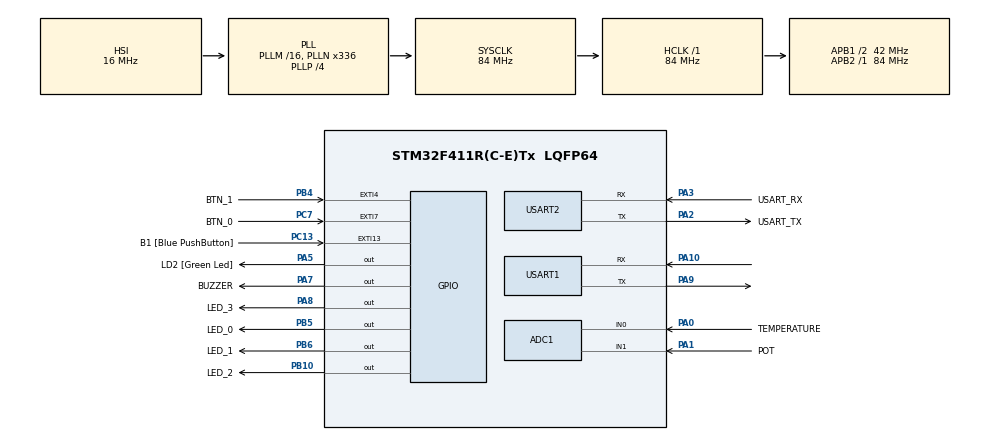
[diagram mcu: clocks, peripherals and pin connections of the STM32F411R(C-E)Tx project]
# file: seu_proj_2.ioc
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Mcu.Family=STM32F4
RCC.CortexFreq_Value=84000000
PB4.GPIO_ModeDefaultEXTI=GPIO_MODE_IT_FALLING
PA14.GPIO_Label=TCK
PB6.GPIO_Label=LED_1
RCC.SYSCLKSource=RCC_SYSCLKSOURCE_PLLCLK
ProjectManager.StackSize=0x400
VP_FREERTOS_VS_CMSIS_V2.Mode=CMSIS_V2
PH0\ -\ OSC_IN.Signal=RCC_OSC_IN
RCC.HCLKFreq_Value=84000000
RCC.APB2TimFreq_Value=84000000
PB6.Signal=GPIO_Output
PC7.Signal=GPXTI7
RCC.AHBFreq_Value=84000000
Dma.USART1_RX.0.Priority=DMA_PRIORITY_LOW
RCC.HSE_VALUE=8000000
PC13-ANTI_TAMP.Signal=GPXTI13
PC14-OSC32_IN.Mode=LSE-External-Oscillator
PA14.Mode=Serial_Wire
VP_SYS_VS_tim1.Mode=TIM1
PA8.Signal=GPIO_Output
SH.ADCx_IN0.0=ADC1_IN0,IN0
Dma.USART1_RX.0.MemInc=DMA_MINC_ENABLE
FREERTOS.configTOTAL_HEAP_SIZE=40000
RCC.FLatency-AdvancedSettings=FLASH_LATENCY_2
PC7.GPIO_ModeDefaultEXTI=GPIO_MODE_IT_FALLING
Mcu.Package=LQFP64
NVIC.TimeBase=TIM1_UP_TIM10_IRQn
USART2.VirtualMode=VM_ASYNC
PA2.GPIO_Label=USART_TX
NVIC.TimeBaseIP=TIM1
PA10.Signal=USART1_RX
Dma.USART1_RX.0.FIFOMode=DMA_FIFOMODE_DISABLE
SH.ADCx_IN1.0=ADC1_IN1,IN1
PB5.GPIO_Label=LED_0
NVIC.DMA2_Stream2_IRQn=true\:5\:0\:false\:false\:true\:true\:false\:true
RCC.APB1TimFreq_Value=84000000
Dma.USART1_RX.0.Mode=DMA_NORMAL
Dma.Request0=USART1_RX
Dma.USART1_RX.0.Instance=DMA2_Stream2
PB4.Signal=GPXTI4
PA3.Signal=USART2_RX
PB3.GPIO_Label=SWO
PC15-OSC32_OUT.Mode=LSE-External-Oscillator
NVIC.EXTI4_IRQn=true\:5\:0\:false\:false\:true\:true\:true\:true
FREERTOS.Tasks01=displayTask,24,2048,startDisplayTask,Default,NULL,Dynamic,NULL,NULL;temperatureTask,24,2048,startTemperatureTask,Default,NULL,Dynamic,NULL,NULL;networkComTask,24,2048,startNetworkComTask,Default,NULL,Dynamic,NULL,NULL
Dma.USART1_RX.0.PeriphDataAlignment=DMA_PDATAALIGN_BYTE
PA10.Mode=Asynchronous
PC13-ANTI_TAMP.GPIO_Label=B1 [Blue PushButton]
PH1\ -\ OSC_OUT.Mode=HSE-External-Clock-Source
RCC.APB1CLKDivider=RCC_HCLK_DIV2
PC14-OSC32_IN.Signal=RCC_OSC32_IN
PA0-WKUP.GPIO_Label=TEMPERATURE
PA0-WKUP.Signal=ADCx_IN0
PA13.Signal=SYS_JTMS-SWDIO
PA3.Mode=Asynchronous
PA9.Mode=Asynchronous
PH0\ -\ OSC_IN.Mode=HSE-External-Clock-Source
PA8.GPIO_Label=LED_3
ProjectManager.TargetToolchain=STM32CubeIDE
PB10.GPIO_Label=LED_2
Dma.USART1_RX.0.Direction=DMA_PERIPH_TO_MEMORY
PA9.Signal=USART1_TX
ADC1.Channel-1\#ChannelRegularConversion=ADC_CHANNEL_0
PB4.GPIO_PuPd=GPIO_PULLUP
PC7.GPIO_PuPd=GPIO_PULLUP
PC15-OSC32_OUT.Signal=RCC_OSC32_OUT
PA1.Signal=ADCx_IN1
Dma.USART1_RX.0.PeriphInc=DMA_PINC_DISABLE
PB10.Signal=GPIO_Output
PA5.Signal=GPIO_Output
PH1\ -\ OSC_OUT.Signal=RCC_OSC_OUT
board=NUCLEO-F411RE
RCC.VCOOutputFreq_Value=336000000
RCC.APB2Freq_Value=84000000
PB4.GPIO_Label=BTN_1
PA1.GPIO_Label=POT
Dma.USART1_RX.0.MemDataAlignment=DMA_MDATAALIGN_BYTE
PA13.Mode=Serial_Wire
Mcu.Name=STM32F411R(C-E)Tx
PA2.Signal=USART2_TX
PA13.GPIO_Label=TMS
PC7.GPIO_Label=BTN_0
RCC.48MHZClocksFreq_Value=84000000
PB3.Signal=SYS_JTDO-SWO
ADC1.SamplingTime-1\#ChannelRegularConversion=ADC_SAMPLETIME_3CYCLES
RCC.SYSCLKFreq_VALUE=84000000
PB5.Signal=GPIO_Output
PA7.GPIO_Label=BUZZER
ADC1.master=1
PA5.GPIO_Label=LD2 [Green Led]
USART1.VirtualMode=VM_ASYNC
PC13-ANTI_TAMP.GPIO_ModeDefaultEXTI=GPIO_MODE_IT_FALLING
ADC1.Rank-1\#ChannelRegularConversion=1
NVIC.EXTI9_5_IRQn=true\:5\:0\:false\:false\:true\:true\:true\:true
PA14.Signal=SYS_JTCK-SWCLK
ProjectManager.HeapSize=0x200
NVIC.TIM1_UP_TIM10_IRQn=true\:0\:0\:false\:false\:true\:false\:false\:true
RCC.HSI_VALUE=16000000
FREERTOS.Mutexes01=timerMutex,Dynamic,NULL;temperatureMutex,Dynamic,NULL;modeMutex,Dynamic,NULL
RCC.PLLP=RCC_PLLP_DIV4
NVIC.PriorityGroup=NVIC_PRIORITYGROUP_4
ADC1.NbrOfConversionFlag=1
RCC.PLLN=336
PA2.Mode=Asynchronous
RCC.APB1Freq_Value=42000000
PA3.GPIO_Label=USART_RX
PA7.Signal=GPIO_Output

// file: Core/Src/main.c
/* USER CODE BEGIN Header */
/**
  ******************************************************************************
  * @file           : main.c
  * @brief          : Main program body
  ******************************************************************************
  * @attention
  *
  * <h2><center>&copy; Copyright (c) 2021 STMicroelectronics.
  * All rights reserved.</center></h2>
  *
  * This software component is licensed by ST under BSD 3-Clause license,
  * the "License"; You may not use this file except in compliance with the
  * License. You may obtain a copy of the License at:
  *                        opensource.org/licenses/BSD-3-Clause
  *
  ******************************************************************************
  */
/* USER CODE END Header */
#include "main.h"
#include "cmsis_os.h"

/* USER CODE BEGIN Includes */
#include "utility.h"

/* USER CODE END Includes */

/* USER CODE BEGIN PD */
#define R25    		  10000.0
#define T25           298.15
#define BETA          3900
#define PRINT		  &huart2
#define UART_ESP8266  &huart1

// Orion Context IoT name
#define IoT_NAME   	 "SensorSEU21_LYK" //LYK=LarsyKnut

// Orion Context Broker
#define ORION_PORT   	 "10000"      // Old port "1026"
#define ORION_ADDRESS   "pperez2.disca.upv.es" // Old: "pperez-seu-or.disca.upv.es"

// Orion Operations
#define ORION_UPDATE	"POST /v1/updateContext HTTP/1.1\r\nContent-Type: application/json\r\nAccept: application/json\r\nContent-Length:"
#define ORION_UPDATE_BODY_TEMP   "{ \"contextElements\": [{\"type\": \"Sensor\", \"isPattern\": \"false\",\"id\": \"%s\",\"attributes\": [ {\"name\": \"temp\",\"type\": \"float\",\"value\": \"%f\"}]}],\"updateAction\": \"APPEND\"}"

#define ORION_QUERY	"POST /v1/queryContext HTTP/1.1\r\nContent-Type: application/json\r\nAccept: application/json\r\nContent-Length:"
#define ORION_QUERY_BODY_TEMP   "{ \"entities\": [{\"type\": \"Sensor\",\"isPattern\": \"false\",\"id\": \"%s\"}]}"

/* ESP RESPONSE WHEN NO WIFI TRYING TO ACCESS CONTEXTBROKER:

OrionConteOrionContextBroker_update
POST /v1/queryContext HTTP/1.1

ERROR
Content-Type: application/json

Accept: application/json

busy p…
Content-Le
ERROR
ngth: 80

ERROR

ERROR
{ “entities”: [{“type”: “Sensor”,”isPattern”: “false”,”id”: “SensorSEU21_LYK”}]}Done
 *
 */

/* USER CODE END PD */

ADC_HandleTypeDef hadc1;

UART_HandleTypeDef huart1;
UART_HandleTypeDef huart2;
DMA_HandleTypeDef hdma_usart1_rx;

/* Definitions for displayTask */
osThreadId_t displayTaskHandle;
const osThreadAttr_t displayTask_attributes = {
  .name = "displayTask",
  .stack_size = 2048 * 4,
  .priority = (osPriority_t) osPriorityNormal,
};
/* Definitions for temperatureTask */
osThreadId_t temperatureTaskHandle;
const osThreadAttr_t temperatureTask_attributes = {
  .name = "temperatureTask",
  .stack_size = 2048 * 4,
  .priority = (osPriority_t) osPriorityNormal,
};
/* Definitions for networkComTask */
osThreadId_t networkComTaskHandle;
const osThreadAttr_t networkComTask_attributes = {
  .name = "networkComTask",
  .stack_size = 2048 * 4,
  .priority = (osPriority_t) osPriorityNormal,
};
/* Definitions for timerMutex */
osMutexId_t timerMutexHandle;
const osMutexAttr_t timerMutex_attributes = {
  .name = "timerMutex"
};
/* Definitions for temperatureMutex */
osMutexId_t temperatureMutexHandle;
const osMutexAttr_t temperatureMutex_attributes = {
  .name = "temperatureMutex"
};
/* Definitions for modeMutex */
osMutexId_t modeMutexHandle;
const osMutexAttr_t modeMutex_attributes = {
  .name = "modeMutex"
};
/* USER CODE BEGIN PV */
mode 			MODE =  					ONLINE;
network_status	NETWORK_STATUS = 			OK;
int 			ALARM = 					0;
float 			global_temperature_buffer = 0.0;
int     		light_list[4]=				{0,0,0,0};
char    		global_time_buffer[6];
char			buff_sprintf100[100];
char 			buff_sprintf_body[256];
char   		    buff_sprintf1024[1024];
uint8_t 		buff_sprintf100_1[100];
uint8_t 		buff_recv[2048];
uint8_t 		buff_response1[2048];

/* USER CODE END PV */

void SystemClock_Config(void);
static void MX_GPIO_Init(void);
static void MX_DMA_Init(void);
static void MX_USART2_UART_Init(void);
static void MX_USART1_UART_Init(void);
static void MX_ADC1_Init(void);
void startDisplayTask(void *argument);
void startTemperatureTask(void *argument);
void startNetworkComTask(void *argument);

int main(void)
{

  /* MCU Configuration--------------------------------------------------------*/

  /* Reset of all peripherals, Initializes the Flash interface and the Systick. */
  HAL_Init();

  /* Configure the system clock */
  SystemClock_Config();

  /* Initialize all configured peripherals */
  MX_GPIO_Init();
  MX_DMA_Init();
  MX_USART2_UART_Init();
  MX_USART1_UART_Init();
  MX_ADC1_Init();

  /* Init scheduler */
  osKernelInitialize();
  /* Create the mutex(es) */
  /* creation of timerMutex */
  timerMutexHandle = osMutexNew(&timerMutex_attributes);

  /* creation of temperatureMutex */
  temperatureMutexHandle = osMutexNew(&temperatureMutex_attributes);

  /* creation of modeMutex */
  modeMutexHandle = osMutexNew(&modeMutex_attributes);

  /* Create the thread(s) */
  /* creation of displayTask */
 // displayTaskHandle = osThreadNew(startDisplayTask, NULL, &displayTask_attributes);

  /* creation of temperatureTask */
  temperatureTaskHandle = osThreadNew(startTemperatureTask, NULL, &temperatureTask_attributes);

  /* creation of networkComTask */
  networkComTaskHandle = osThreadNew(startNetworkComTask, NULL, &networkComTask_attributes);

  /* Start scheduler */
  osKernelStart();

  /* We should never get here as control is now taken by the scheduler */
  /* Infinite loop */
  while (1)
  {

  }
}

void SystemClock_Config(void)
{
  RCC_OscInitTypeDef RCC_OscInitStruct = {0};
  RCC_ClkInitTypeDef RCC_ClkInitStruct = {0};

  /** Configure the main internal regulator output voltage
  */
  __HAL_RCC_PWR_CLK_ENABLE();
  __HAL_PWR_VOLTAGESCALING_CONFIG(PWR_REGULATOR_VOLTAGE_SCALE1);
  /** Initializes the RCC Oscillators according to the specified parameters
  * in the RCC_OscInitTypeDef structure.
  */
  RCC_OscInitStruct.OscillatorType = RCC_OSCILLATORTYPE_HSI;
  RCC_OscInitStruct.HSIState = RCC_HSI_ON;
  RCC_OscInitStruct.HSICalibrationValue = RCC_HSICALIBRATION_DEFAULT;
  RCC_OscInitStruct.PLL.PLLState = RCC_PLL_ON;
  RCC_OscInitStruct.PLL.PLLSource = RCC_PLLSOURCE_HSI;
  RCC_OscInitStruct.PLL.PLLM = 16;
  RCC_OscInitStruct.PLL.PLLN = 336;
  RCC_OscInitStruct.PLL.PLLP = RCC_PLLP_DIV4;
  RCC_OscInitStruct.PLL.PLLQ = 4;
  if (HAL_RCC_OscConfig(&RCC_OscInitStruct) != HAL_OK)
  {
    Error_Handler();
  }
  /** Initializes the CPU, AHB and APB buses clocks
  */
  RCC_ClkInitStruct.ClockType = RCC_CLOCKTYPE_HCLK|RCC_CLOCKTYPE_SYSCLK
                              |RCC_CLOCKTYPE_PCLK1|RCC_CLOCKTYPE_PCLK2;
  RCC_ClkInitStruct.SYSCLKSource = RCC_SYSCLKSOURCE_PLLCLK;
  RCC_ClkInitStruct.AHBCLKDivider = RCC_SYSCLK_DIV1;
  RCC_ClkInitStruct.APB1CLKDivider = RCC_HCLK_DIV2;
  RCC_ClkInitStruct.APB2CLKDivider = RCC_HCLK_DIV1;

  if (HAL_RCC_ClockConfig(&RCC_ClkInitStruct, FLASH_LATENCY_2) != HAL_OK)
  {
    Error_Handler();
  }
}

static void MX_ADC1_Init(void)
{

  ADC_ChannelConfTypeDef sConfig = {0};

  /** Configure the global features of the ADC (Clock, Resolution, Data Alignment and number of conversion)
  */
  hadc1.Instance = ADC1;
  hadc1.Init.ClockPrescaler = ADC_CLOCK_SYNC_PCLK_DIV4;
  hadc1.Init.Resolution = ADC_RESOLUTION_12B;
  hadc1.Init.ScanConvMode = DISABLE;
  hadc1.Init.ContinuousConvMode = DISABLE;
  hadc1.Init.DiscontinuousConvMode = DISABLE;
  hadc1.Init.ExternalTrigConvEdge = ADC_EXTERNALTRIGCONVEDGE_NONE;
  hadc1.Init.ExternalTrigConv = ADC_SOFTWARE_START;
  hadc1.Init.DataAlign = ADC_DATAALIGN_RIGHT;
  hadc1.Init.NbrOfConversion = 1;
  hadc1.Init.DMAContinuousRequests = DISABLE;
  hadc1.Init.EOCSelection = ADC_EOC_SINGLE_CONV;
  if (HAL_ADC_Init(&hadc1) != HAL_OK)
  {
    Error_Handler();
  }
  /** Configure for the selected ADC regular channel its corresponding rank in the sequencer and its sample time.
  */
  sConfig.Channel = ADC_CHANNEL_0;
  sConfig.Rank = 1;
  sConfig.SamplingTime = ADC_SAMPLETIME_3CYCLES;
  if (HAL_ADC_ConfigChannel(&hadc1, &sConfig) != HAL_OK)
  {
    Error_Handler();
  }

}

static void MX_USART1_UART_Init(void)
{

  huart1.Instance = USART1;
  huart1.Init.BaudRate = 115200;
  huart1.Init.WordLength = UART_WORDLENGTH_8B;
  huart1.Init.StopBits = UART_STOPBITS_1;
  huart1.Init.Parity = UART_PARITY_NONE;
  huart1.Init.Mode = UART_MODE_TX_RX;
  huart1.Init.HwFlowCtl = UART_HWCONTROL_NONE;
  huart1.Init.OverSampling = UART_OVERSAMPLING_16;
  if (HAL_UART_Init(&huart1) != HAL_OK)
  {
    Error_Handler();
  }

}

static void MX_USART2_UART_Init(void)
{

  huart2.Instance = USART2;
  huart2.Init.BaudRate = 115200;
  huart2.Init.WordLength = UART_WORDLENGTH_8B;
  huart2.Init.StopBits = UART_STOPBITS_1;
  huart2.Init.Parity = UART_PARITY_NONE;
  huart2.Init.Mode = UART_MODE_TX_RX;
  huart2.Init.HwFlowCtl = UART_HWCONTROL_NONE;
  huart2.Init.OverSampling = UART_OVERSAMPLING_16;
  if (HAL_UART_Init(&huart2) != HAL_OK)
  {
    Error_Handler();
  }

}

static void MX_DMA_Init(void)
{

  /* DMA controller clock enable */
  __HAL_RCC_DMA2_CLK_ENABLE();

  /* DMA interrupt init */
  /* DMA2_Stream2_IRQn interrupt configuration */
  HAL_NVIC_SetPriority(DMA2_Stream2_IRQn, 5, 0);
  HAL_NVIC_EnableIRQ(DMA2_Stream2_IRQn);

}

static void MX_GPIO_Init(void)
{
  GPIO_InitTypeDef GPIO_InitStruct = {0};

  /* GPIO Ports Clock Enable */
  __HAL_RCC_GPIOC_CLK_ENABLE();
  __HAL_RCC_GPIOH_CLK_ENABLE();
  __HAL_RCC_GPIOA_CLK_ENABLE();
  __HAL_RCC_GPIOB_CLK_ENABLE();

  /*Configure GPIO pin Output Level */
  HAL_GPIO_WritePin(GPIOA, LD2_Pin|BUZZER_Pin|LED_3_Pin, GPIO_PIN_RESET);

  /*Configure GPIO pin Output Level */
  HAL_GPIO_WritePin(GPIOB, LED_2_Pin|LED_0_Pin|LED_1_Pin, GPIO_PIN_RESET);

  /*Configure GPIO pin : B1_Pin */
  GPIO_InitStruct.Pin = B1_Pin;
  GPIO_InitStruct.Mode = GPIO_MODE_IT_FALLING;
  GPIO_InitStruct.Pull = GPIO_NOPULL;
  HAL_GPIO_Init(B1_GPIO_Port, &GPIO_InitStruct);

  /*Configure GPIO pins : LD2_Pin BUZZER_Pin LED_3_Pin */
  GPIO_InitStruct.Pin = LD2_Pin|BUZZER_Pin|LED_3_Pin;
  GPIO_InitStruct.Mode = GPIO_MODE_OUTPUT_PP;
  GPIO_InitStruct.Pull = GPIO_NOPULL;
  GPIO_InitStruct.Speed = GPIO_SPEED_FREQ_LOW;
  HAL_GPIO_Init(GPIOA, &GPIO_InitStruct);

  /*Configure GPIO pins : LED_2_Pin LED_0_Pin LED_1_Pin */
  GPIO_InitStruct.Pin = LED_2_Pin|LED_0_Pin|LED_1_Pin;
  GPIO_InitStruct.Mode = GPIO_MODE_OUTPUT_PP;
  GPIO_InitStruct.Pull = GPIO_NOPULL;
  GPIO_InitStruct.Speed = GPIO_SPEED_FREQ_LOW;
  HAL_GPIO_Init(GPIOB, &GPIO_InitStruct);

  /*Configure GPIO pin : BTN_0_Pin */
  GPIO_InitStruct.Pin = BTN_0_Pin;
  GPIO_InitStruct.Mode = GPIO_MODE_IT_FALLING;
  GPIO_InitStruct.Pull = GPIO_PULLUP;
  HAL_GPIO_Init(BTN_0_GPIO_Port, &GPIO_InitStruct);

  /*Configure GPIO pin : BTN_1_Pin */
  GPIO_InitStruct.Pin = BTN_1_Pin;
  GPIO_InitStruct.Mode = GPIO_MODE_IT_FALLING;
  GPIO_InitStruct.Pull = GPIO_PULLUP;
  HAL_GPIO_Init(BTN_1_GPIO_Port, &GPIO_InitStruct);

  /* EXTI interrupt init*/
  HAL_NVIC_SetPriority(EXTI4_IRQn, 5, 0);
  HAL_NVIC_EnableIRQ(EXTI4_IRQn);

  HAL_NVIC_SetPriority(EXTI9_5_IRQn, 5, 0);
  HAL_NVIC_EnableIRQ(EXTI9_5_IRQn);

}

/* USER CODE BEGIN 4 */

/*
 * Function for setting the lights and activating the Buzzer
 * */
void set_lights_and_buzzer(int buzz){
	HAL_GPIO_WritePin(GPIOB, LED_0_Pin, light_list[0]);
	HAL_GPIO_WritePin(GPIOB, LED_1_Pin, light_list[1]);
	HAL_GPIO_WritePin(GPIOB, LED_2_Pin, light_list[2]);
	HAL_GPIO_WritePin(GPIOA, LED_3_Pin, light_list[3]);

	HAL_GPIO_WritePin(GPIOA, BUZZER_Pin, buzz);

}

/*
 * time_buffer_write() and time_buffer_read() makes sure the reading and writing to the global buffer happens with mutual exclution
 * */
void time_buffer_write(char* time, int size){
	while( osMutexAcquire(timerMutexHandle, 10000/portTICK_RATE_MS) != osOK);	// Aquire mutex
	for(int i=0; i < size;i++){
		global_time_buffer[i] = time[i];
	}
	while(osMutexRelease(timerMutexHandle) != osOK);	//Release mutex
}

/*
 * time_buffer_write() and time_buffer_read() makes sure the reading and writing to the global buffer happens with mutual exclution
 * */
void time_buffer_read(char* time, int size){

	while(osMutexAcquire(timerMutexHandle, 10000/portTICK_RATE_MS) != osOK);	// Aquire mutex
	for(int i = 0; i<size; i++){
		time[i] = global_time_buffer[i];
	}
	while(osMutexRelease(timerMutexHandle) != osOK);
}

/*
 * temperature_buffer_write() and temperature_buffer_read() makes sure the reading and writing to the global buffer happens with mutual exclution
 * */
void temperature_buffer_write(float temperature){
	while( osMutexAcquire(temperatureMutexHandle, 10000/portTICK_RATE_MS) != osOK);	// Aquire mutex
	global_temperature_buffer = temperature;
	while(osMutexRelease(temperatureMutexHandle) != osOK);	//Release mutex
}

/*
 * temperature_buffer_write() and temperature_buffer_read() makes sure the reading and writing to the global buffer happens with mutual exclution
 * */
float temperature_buffer_read(){
	float temperature = 0.0;
	while(osMutexAcquire(temperatureMutexHandle, 10000/portTICK_RATE_MS) != osOK);	// Aquire mutex
	temperature = global_temperature_buffer;
	while(osMutexRelease(temperatureMutexHandle) != osOK);
	return temperature;
}

/*
 *	 This function takes in the response from a HTTP request and cleans away so were left with only the JSON.
 */
void clean_time_response(char * data, int maxlen){

	int t,h,l,o,i = 0;
	char * res;
	int indexbk;
	char bytes[4];

	res = data;

	for(t=0; t < maxlen; t++) buff_response1[t] = '*';

	for(t = 0; t< maxlen;){
		res = strnstr(res, "+IPD", maxlen-t);
		if(res!=NULL){
			bytes[0]=*(res+5);
			bytes[1]=*(res+6);
			bytes[2]=*(res+7);
			bytes[3]=*(res+8);

			for(h=0;h<4;h++) if(bytes[h]==':'){o=h;bytes[h]=0;}
			l=atoi(bytes);

			for(h=0;h<l;h++)buff_response1[t+h]=*(res+h+o+6);
			indexbk = t+h;
			t=t+l;
			res = res+t+o+6; // To avoid +IPD
		}else{
			buff_response1[indexbk] = 0;
			break;
		}
	}
	i=0;
	do{
	}while(buff_response1[i++]!='{');
	i--;

	for(t = 0; t < (2048-i); t++){
		buff_response1[t] = buff_response1[t+1];
	}

}

void clean_cb_response(char * data, int maxlen){

	int t,h,l,o,i = 0;
	char * res;
	int indexbk;
	char bytes[4];

	res = data;

	for(t=0; t < maxlen; t++) buff_response1[t] = '*';

}

/*
 * This functions send a HTTP request to worldclockapi.com to get the current time
 * */
void ESP8266_get_time(void) {
	int ct;
	sprintf(buff_sprintf100,"AT+CIPSTART=\"TCP\",\"%s\",%s\r\n","worldclockapi.com","80");
	HAL_UART_Transmit(UART_ESP8266,( unsigned char *) buff_sprintf100, strlen( buff_sprintf100),100000); // cabecera
	osDelay(100);
	sprintf(buff_sprintf100,"GET /api/json/cet/now HTTP/1.1\r\nAccept: text/html\r\nHost: worldclockapi.com\r\n\r\n");
	sprintf(buff_sprintf100_1,( unsigned char *)"AT+CIPSEND=%d\r\n",strlen(buff_sprintf100));
	HAL_UART_Transmit(UART_ESP8266,( unsigned char *) buff_sprintf100_1, strlen( buff_sprintf100_1),100000); // cabecera
	osDelay(100);

	for (ct=0;ct<2048;ct++) buff_recv[ct]=0;
	HAL_UART_Receive_DMA(UART_ESP8266, buff_recv,2048);
	HAL_UART_Transmit(UART_ESP8266,( unsigned char *) buff_sprintf100, strlen( buff_sprintf100),100000); // cabecera
	osDelay(500);
	HAL_UART_DMAStop(UART_ESP8266);

	clean_time_response(( unsigned char *)buff_recv,2048);
}

/*
 * This function is to set up the ESP8266 to connect to wifi. It is only runned once.
 * */
void ESP8266_Boot(void)
{
	int ct;
	// Reset ESP
	for (ct=0;ct<2048;ct++) buff_recv[ct]=0;
	HAL_UART_Receive_DMA(UART_ESP8266, buff_recv,2048);
	HAL_UART_Transmit(UART_ESP8266, ( unsigned char *)"AT+RST\r\n",strlen("AT+RST\r\n"),10000);
	osDelay(2000);
	HAL_UART_DMAStop(UART_ESP8266);
	HAL_UART_Transmit(&huart2, buff_recv,strlen((char*)buff_recv),10000);

	// Tiene IP?
	for (ct=0;ct<2048;ct++) buff_recv[ct]=0;
	HAL_UART_Receive_DMA(UART_ESP8266, buff_recv,2048);
	HAL_UART_Transmit(UART_ESP8266, ( unsigned char *)"AT+CIFSR\r\n",strlen("AT+CIFSR\r\n"),10000);
	osDelay(2000);
	HAL_UART_DMAStop(UART_ESP8266);
	HAL_UART_Transmit(&huart2, buff_recv,strlen((char*)buff_recv),10000);

	// Pon en modo station=1,  station+access_point=3
	for (ct=0;ct<2048;ct++) buff_recv[ct]=0;
	HAL_UART_Receive_DMA(UART_ESP8266, buff_recv,2048);
	HAL_UART_Transmit(UART_ESP8266, ( unsigned char *) "AT+CWMODE=1\r\n",strlen("AT+CWMODE=1\r\n"),100000);
	osDelay(2000);
	HAL_UART_DMAStop(UART_ESP8266);
	HAL_UART_Transmit(&huart2, buff_recv,strlen((char *)buff_recv),10000);

	// Programa la contraseña del access-point
	for (ct=0;ct<2048;ct++) buff_recv[ct]=0;
	HAL_UART_Receive_DMA(UART_ESP8266, buff_recv,2048);
	//HAL_UART_Transmit(UART_ESP8266,( unsigned char *) "AT+CWJAP=\"routerSEU\",\"00000000\"\r\n",strlen("AT+CWJAP=\"routerSeu\",\"00000000\"\r\n"),10000);
	HAL_UART_Transmit(UART_ESP8266,( unsigned char *) "AT+CWJAP=\"Lowi338D\",\"VVGH3T7SR28SQ9\"\r\n",strlen("AT+CWJAP=\"Lowi338D\",\"VVGH3T7SR28SQ9\"\r\n"),10000);
	//HAL_UART_Transmit(UART_ESP8266,( unsigned char *) "AT+CWJAP=\"Lars iPhone\",\"noerart1234\"\r\n",strlen("AT+CWJAP=\"Lars iPhone\",\"noerart1234\"\r\n"),10000);
	osDelay(10000);
	HAL_UART_DMAStop(UART_ESP8266);
	HAL_UART_Transmit(&huart2, buff_recv,strlen((char *)buff_recv),10000);

	// verifica si hay IP
	for (ct=0;ct<2048;ct++) buff_recv[ct]=0;
	HAL_UART_Receive_DMA(UART_ESP8266, buff_recv,2048);
	HAL_UART_Transmit(UART_ESP8266, ( unsigned char *)"AT+CIFSR\r\n",strlen("AT+CIFSR\r\n"),10000);
	osDelay(4000);
	HAL_UART_DMAStop(UART_ESP8266);
	HAL_UART_Transmit(&huart2, buff_recv,strlen((char *)buff_recv),10000);

}

/*
 * Orion context broker functions
 *
 * */

void OrionContextBroker_update(void) {
    int ct;

     float temp_act = 30;
     temp_act = temperature_buffer_read();
   	 sprintf(buff_sprintf100,"AT+CIPSTART=\"TCP\",\"%s\",%s\r\n",ORION_ADDRESS,ORION_PORT); //Start tcp with context broker
   	 HAL_UART_Transmit(UART_ESP8266,( unsigned char *) buff_sprintf100, strlen( buff_sprintf100),100000); // Send it to the ESP
   	 osDelay(100);

   	 sprintf(buff_sprintf_body,ORION_UPDATE_BODY_TEMP,IoT_NAME,temp_act); // Fill the context body buffer with the context
   	 sprintf(buff_sprintf1024,"%s %d\r\n\r\n%s",ORION_UPDATE,strlen(buff_sprintf_body),buff_sprintf_body); //Fill the full request buffer with request, size and body

   	 sprintf(buff_sprintf100_1,( unsigned char *)"AT+CIPSEND=%d\r\n",strlen(buff_sprintf1024));
   	 HAL_UART_Transmit(UART_ESP8266,( unsigned char *) buff_sprintf100_1, strlen( buff_sprintf100_1),100000); // Prepare ESP with size of request
   	 osDelay(100);

   	 for (ct=0;ct<2048;ct++) buff_recv[ct]=0; //Empty recieve buffer
   	 HAL_UART_Receive_DMA(UART_ESP8266, buff_recv,2048); // Set esp response to save in receive buffer
   	 HAL_UART_Transmit(UART_ESP8266,( unsigned char *) buff_sprintf1024, strlen( buff_sprintf1024),100000); // Transimt the request
   	 osDelay(2000);
   	 HAL_UART_DMAStop(UART_ESP8266);

   	 printf("%s",buff_recv); //Print response

}

void OrionContextBroker_query(void) {

	/*
	 * send queryContext to contextbroker
	 * cleanUp the response (different function)
	 * */

	int ct;

	sprintf(buff_sprintf100,"AT+CIPSTART=\"TCP\",\"%s\",%s\r\n",ORION_ADDRESS,ORION_PORT); //Start tcp with context broker
	HAL_UART_Transmit(UART_ESP8266,( unsigned char *) buff_sprintf100, strlen( buff_sprintf100),100000); // Send it to the ESP
	osDelay(100);

	sprintf(buff_sprintf_body,ORION_QUERY_BODY_TEMP,IoT_NAME); // Fill the context body buffer with the context
	sprintf(buff_sprintf1024,"%s %d\r\n\r\n%s",ORION_QUERY,strlen(buff_sprintf_body),buff_sprintf_body); //Fill the full request buffer with request, size and body

	sprintf(buff_sprintf100_1,( unsigned char *)"AT+CIPSEND=%d\r\n",strlen(buff_sprintf1024));
	HAL_UART_Transmit(UART_ESP8266,( unsigned char *) buff_sprintf100_1, strlen( buff_sprintf100_1),100000); // Prepare ESP with size of request
	osDelay(100);

	for (ct=0;ct<2048;ct++) buff_recv[ct]=0; //Empty recieve buffer
	HAL_UART_Receive_DMA(UART_ESP8266, buff_recv,2048); // Set esp response to save in receive buffer
	HAL_UART_Transmit(UART_ESP8266,( unsigned char *) buff_sprintf1024, strlen( buff_sprintf1024),100000); // Transimt the request
	osDelay(2000);
	HAL_UART_DMAStop(UART_ESP8266);
	//printf("%s",buff_recv); //Print response
	clean_time_response(( unsigned char *)buff_recv,2048);

}

/* USER CODE END 4 */

void startDisplayTask(void *argument)
{
  /* USER CODE BEGIN 5 */
  /* Infinite loop */

  for(;;)
  {
	 osDelay(1000);

	 // Get temperature from global buffer
	 float temperature = 0.0;
	 temperature = temperature_buffer_read();

	 // Get time from global buffer
	 char time[6];
	 time_buffer_read(time,6);

	 printf("Time: %s - Temperature: %.2f\r\n",time,temperature);
  }
  /* USER CODE END 5 */
}

void startTemperatureTask(void *argument)
{
  /* USER CODE BEGIN startTemperatureTask */
  /* Infinite loop */
  for(;;)
  {
	  osDelay(1000);
	  		  uint32_t valueAD;
	  		  float VRNTC,RNTC,TNTC;
	  		  int buzzer = 0;

	  		  ADC_ChannelConfTypeDef sConfig = {0};
	  			// configuracion del canal de entrada A/D
	  		  sConfig.Channel = ADC_CHANNEL_1;
	  		  sConfig.Rank = 1;
	  		  //sConfig.SamplingTime = ADC_SAMPLETIME_2CYCLE_5;
	  		  HAL_ADC_ConfigChannel(&hadc1, &sConfig);
	  		  // Disparo la conversion
	  		  HAL_ADC_Start(&hadc1);
	  		  // Espero la finalización
	  		  HAL_ADC_PollForConversion(&hadc1, 10000);
	  		  // Leo el valor de la conversión 4095 y 0
	  		  valueAD=HAL_ADC_GetValue(&hadc1);
	  		  //printf("valor %d \r\n",valueAD);

	  		  TNTC=BETA/(log((-10000.0*3.3/(valueAD*3.3/4095.9-3.3)-10000.0)/R25)+BETA/T25)-273.18;

	  		  temperature_buffer_write(TNTC);

	  		  if(TNTC>32){
	  			  for(int i = 0; i<4; i++){
	  				  light_list[i] = 1;
	  			  }
	  			  if(TNTC>34){
	  				  buzzer = 1;
	  			  }
	  		  } else if(TNTC > 29){
	  				light_list[0]=0;
	  				light_list[1]=1;
	  				light_list[2]=1;
	  				light_list[3]=1;
	  				buzzer = 0;
	  		  } else if(TNTC > 26){
	  				light_list[0]=0;
	  				light_list[1]=0;
	  				light_list[2]=1;
	  				light_list[3]=1;
	  				buzzer=0;
	  		  }else if(TNTC > 23){
	  				light_list[0]=0;
	  				light_list[1]=0;
	  				light_list[2]=0;
	  				light_list[3]=1;
	  				buzzer = 0;
	  		  }else{
	  			  for(int i = 0; i<4; i++){
	  				  light_list[i]=0;
	  			  }
	  			  buzzer = 0;
	  		  }
	  		  buzzer=0;

	  		  set_lights_and_buzzer(buzzer);

  }
  /* USER CODE END startTemperatureTask */
}

void startNetworkComTask(void *argument)
{
  /* USER CODE BEGIN startNetworkComTask */
	char * temp_time;
	char * temp_string;
	char   temp_source_alarm[strlen("SensorSEU21_XXX")];
	int    temp_light_list[4];
	int    temp_alarm;
	printf("BOOTING ESP8266_Boot\r\n");
	ESP8266_Boot();
	printf("DONE BOOTING\r\n");

  /* Infinite loop */
  for(;;)
  {
	  mode mode = ONLINE; //TODO create mutex getMode method
	  if(mode == LOCAL) {

		 /*
		  * 1. Get time from worldclockapi.com
		  * 2. Write to global buffer
		  * 3. Goto sleep for x seconds
		  * */

		  ESP8266_get_time();

		  temp_time = strstr(buff_response1,"currentDateTime");
		  temp_time = temp_time+strlen("currentDateTime:yyyy-mm-dd:")+2; // +2 to skip ""
			int q = 0;
			do{
			}while(temp_time[q++]!='+'); //iterate over the timestamp, already know it ends with +
			q--;
			for(q; q < strlen(temp_time);q++)temp_time[q]=NULL; //Remove the rest of the response

			if(temp_time[0] != 0){
				time_buffer_write(temp_time, strlen(temp_time)); // Write current time to global time buffer
				temp_time[0] = 0;
			}
			fflush(NULL);
			osDelay(2000);

	  }

	if(mode == ONLINE){
		OrionContextBroker_query(); // query LED and BUZZER values

		// LEDS
		temp_string = strstr(buff_response1,"LEDS");
		temp_string = strstr(buff_response1,"value");
		temp_string += strlen("value\" : \"");
		for (int i = 0; i<4; i++){
			temp_light_list[i] = (temp_string[i])-'0';
		}
		printf("LEDS: %d%d%d%d\r\n", temp_light_list[0],temp_light_list[1],temp_light_list[2],temp_light_list[3]);

		// Alarm/buzzer
		temp_string = strstr(buff_response1,"alarm");
		temp_string = strstr(temp_string,"value");
		temp_string += strlen("value\" : \"");
		temp_alarm = (temp_string[0])-'0';
		printf("Alarm: %d\r\n", temp_alarm);

		// If alarm, check reason
		if(temp_alarm){
			temp_string = strstr(buff_response1,"source_alarm");
			temp_string = strstr(temp_string,"value");
			temp_string += strlen("value\" : \"");
			int i=0;
			while(temp_string[i]!='"'){
				temp_source_alarm[i]=temp_string[i];
				i++;
			}

			/*
			int q=0;
			do{
				temp_source_alarm[q]=temp_string[q];

			}while(temp_string[q++]!='}');*/
			printf("Source Alarm: %s\r\n", temp_source_alarm);
		}else{

		}

		//printf("%s",buff_response1); //Print response

		//OrionContextBroker_update();	// SEND TEMPERATURE

	  }
	  osDelay(2000);

  }
  /* USER CODE END startNetworkComTask */
}

 /**
  * @brief  Period elapsed callback in non blocking mode
  * @note   This function is called  when TIM1 interrupt took place, inside
  * HAL_TIM_IRQHandler(). It makes a direct call to HAL_IncTick() to increment
  * a global variable "uwTick" used as application time base.
  * @param  htim : TIM handle
  * @retval None
  */
void HAL_TIM_PeriodElapsedCallback(TIM_HandleTypeDef *htim)
{
  if (htim->Instance == TIM1) {
    HAL_IncTick();
  }
}

void Error_Handler(void)
{
  __disable_irq();
  while (1)
  {
  }
}

/************************ (C) COPYRIGHT STMicroelectronics *****END OF FILE****/
